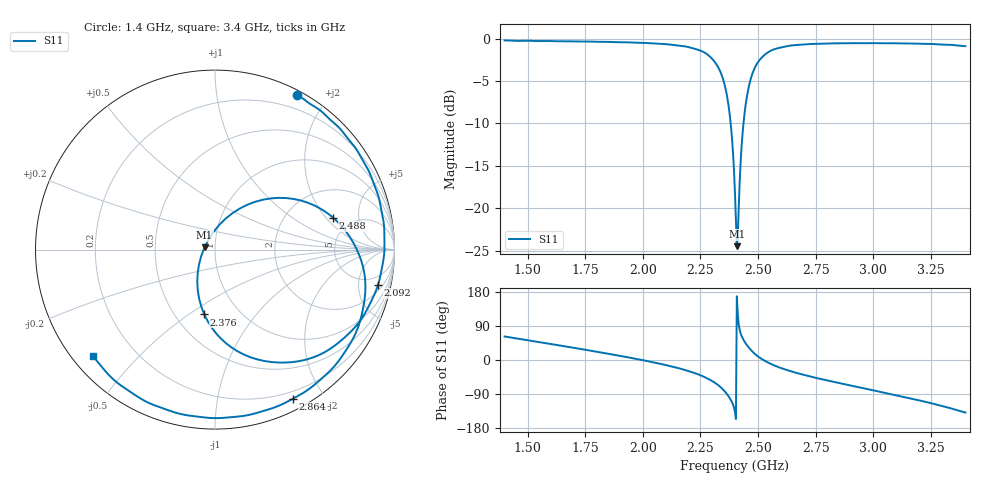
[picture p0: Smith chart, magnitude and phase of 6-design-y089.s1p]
#  Hz  S  RI  R  50
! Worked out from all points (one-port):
!   501 points, 1.4 GHz to 3.4 GHz, reference 50 ohm
!   lowest |S11| = -24.5 dB at 2.408 GHz (marker M1), VSWR 1.13, Z = 44.5 + j1.08 ohm
!   |S11| at or under -10 dB: 2.381 GHz to 2.437 GHz (55.72 MHz wide, 2.31 % of centre)
!   S11 on the Smith chart (normalised r, x): 1.4 GHz: 0.05, +1.66; 2.092 GHz: 2.88, -8.33; 2.376 GHz: 0.69, -0.58; 2.488 GHz: 3.61, +2.39; 2.864 GHz: 0.12, -1.64; 3.4 GHz: 0.06, -0.38
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1.4e9  0.4566 0.8613
1.652e9  0.7708 0.582
1.9e9  0.9344 0.1836
2.092e9  0.9082 -0.1973
2.152e9  0.8503 -0.328
2.244e9  0.6668 -0.5352
2.308e9  0.39 -0.6293
2.344e9  0.1524 -0.5805
2.36e9  0.0352 -0.498
2.376e9  -0.0597 -0.3612
2.388e9  -0.0958 -0.228
2.4e9  -0.089 -0.0826
2.408e9  -0.0585 0.0121
2.416e9  -0.00831 0.0986
2.428e9  0.0968 0.2025
2.444e9  0.2681 0.2783
2.464e9  0.4771 0.2737
2.488e9  0.6582 0.1776
2.516e9  0.772 0.0357
2.552e9  0.8325 -0.1357
2.652e9  0.7788 -0.4765
2.748e9  0.6388 -0.6776
2.864e9  0.4333 -0.8312
2.9e9  0.3651 -0.8659
3.016e9  0.1287 -0.9302
3.152e9  -0.1617 -0.922
3.268e9  -0.4161 -0.8288
3.4e9  -0.6783 -0.595
